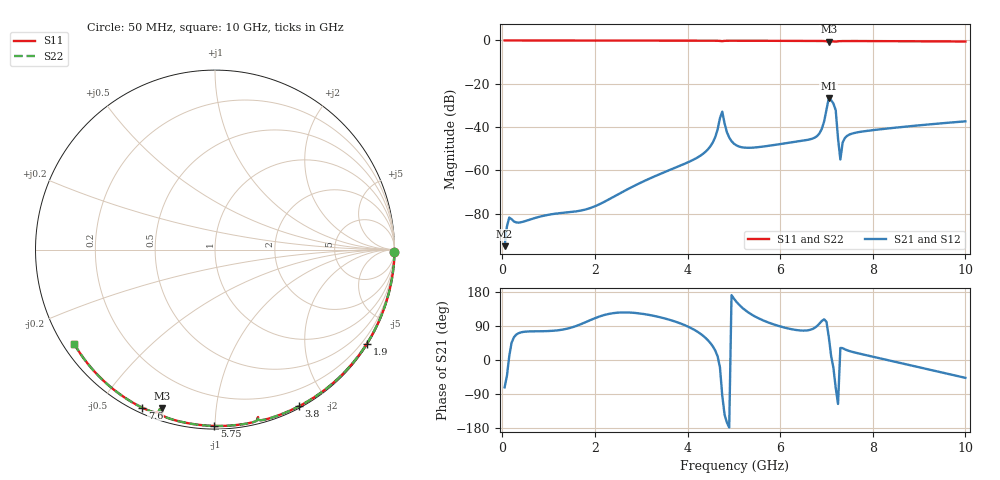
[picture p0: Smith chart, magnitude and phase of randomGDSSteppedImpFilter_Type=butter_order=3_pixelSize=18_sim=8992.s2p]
! freq	dB(S11)	phase(S11)	dB(S12)	phase(S12)
!  dB(S21)	phase(S21)	dB(S22)	phase(S22)
!S-par simulation data
#  GHz  S  DB  R 50
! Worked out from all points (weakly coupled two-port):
!   200 points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, 50 MHz to 10 GHz, reference 50 ohm
!   highest |S21| = -26.65 dB at 7.05 GHz (marker M1); lowest = -95.0 dB at 50 MHz (marker M2)
!   lowest |S11| = -0.6 dB at 7.05 GHz (marker M3), VSWR 27.67, Z = 2.74 - j35.9 ohm
!   |S11| at or under -10 dB: nowhere
!   |S22| runs from -0.6 to 0.0 dB; largest |S21 - S12| = 0
!   S11 on the Smith chart (normalised r, x): 50 MHz: open; 1.9 GHz: 0.03, -3.51; 3.8 GHz: 0.02, -1.67; 5.75 GHz: 0.02, -1.00; 7.6 GHz: 0.02, -0.64; 10 GHz: 0.03, -0.30
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0.05  -0.00 -0.9  -95.01 -72.1  -95.01 -72.1  -0.00 -0.9
1.75  -0.04 -29.3  -78.33 97.2  -78.33 97.2  -0.04 -29.3
1.9  -0.04 -31.8  -77.40 105.1  -77.40 105.1  -0.04 -31.8
3.4  -0.07 -55.7  -61.74 113.0  -61.74 113.0  -0.07 -55.7
3.8  -0.08 -61.8  -58.20 98.6  -58.20 98.6  -0.08 -61.8
4.45  -0.11 -71.7  -50.06 50.8  -50.06 50.8  -0.11 -71.7
4.6  -0.12 -74.1  -44.54 24.6  -44.54 24.6  -0.12 -74.1
4.75  -0.33 -75.6  -32.87 -94.3  -32.87 -94.3  -0.33 -75.6
4.85  -0.14 -77.0  -42.33 -164.9  -42.33 -164.9  -0.14 -77.0
5.05  -0.13 -80.2  -48.38 154.5  -48.38 154.5  -0.13 -80.2
5.75  -0.15 -90.3  -48.66 98.8  -48.66 98.8  -0.15 -90.3
6.7  -0.21 -103.7  -45.32 81.8  -45.32 81.8  -0.21 -103.7
6.9  -0.25 -106.8  -40.80 103.1  -40.80 103.1  -0.25 -106.8
7.05  -0.63 -108.6  -26.65 61.1  -26.65 61.1  -0.63 -108.6
7.2  -0.53 -109.1  -32.20 -73.8  -32.20 -73.8  -0.52 -109.1
7.25  -0.37 -109.2  -45.31 -116.0  -45.31 -116.0  -0.37 -109.2
7.3  -0.30 -110.1  -54.95 31.8  -54.95 31.8  -0.30 -110.1
7.35  -0.28 -111.0  -47.12 31.3  -47.12 31.3  -0.28 -111.0
7.4  -0.27 -111.8  -44.99 28.1  -44.99 28.1  -0.27 -111.8
7.6  -0.27 -114.7  -42.75 20.1  -42.75 20.1  -0.27 -114.8
8.35  -0.32 -124.8  -40.59 -1.0  -40.59 -1.0  -0.32 -124.8
10  -0.50 -146.1  -37.36 -47.1  -37.36 -47.1  -0.50 -146.1
